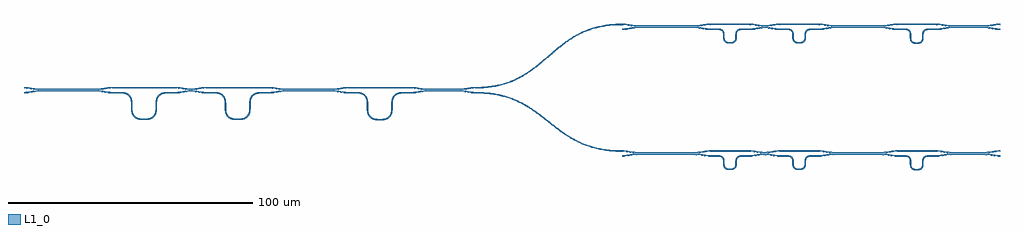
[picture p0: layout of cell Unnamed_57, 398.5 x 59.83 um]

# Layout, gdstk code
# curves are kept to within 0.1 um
from math import pi, radians
import gdstk
lib = gdstk.Library(unit=1e-6, precision=1e-09)
def R(c, l, rs):  # rectangles x0, y0, x1, y1
    for r in rs: c.add(gdstk.rectangle(r[:2], r[2:], *l))
def P(c, l, *ps):  # polygons
    for p in ps: c.add(gdstk.Polygon(p, *l))
L1_0 = (1, 0)

unnamed_0 = lib.new_cell('Unnamed_0')
P(unnamed_0, L1_0, [(-12.092,0.1),(-13.599,0.205),(-16.641,0.67),(-18,0.75),(-18,1.25),(-16.677,1.177),(-13.567,0.705),(-12.088,0.6),(12.177,0.601),(13.567,0.705),(16.677,1.177),(18,1.25),(18,0.75),(16.641,0.67),(13.813,0.233),(12.462,0.109)])

unnamed_1 = lib.new_cell('Unnamed_1')
P(unnamed_1, L1_0, [(-18,-1.25),(-18,-0.75),(-16.641,-0.67),(-13.599,-0.205),(-12.185,-0.101),(12.185,-0.101),(13.599,-0.205),(16.641,-0.67),(18,-0.75),(18,-1.25),(17.908,-1.25),(16.677,-1.177),(13.567,-0.705),(12.177,-0.601),(-12.177,-0.601),(-13.567,-0.705),(-16.677,-1.177)])

unnamed_2 = lib.new_cell('Unnamed_2')
P(unnamed_2, L1_0, [(-0.217,0.1),(-1.724,0.205),(-4.766,0.67),(-6.125,0.75),(-6.125,1.25),(-4.802,1.177),(-1.692,0.705),(-0.213,0.6),(1.336,0.664),(4.526,1.145),(6.125,1.25),(6.125,0.75),(4.647,0.656),(1.448,0.173)])

unnamed_3 = lib.new_cell('Unnamed_3')
P(unnamed_3, L1_0, [(-6.125,-1.25),(-6.125,-0.75),(-4.766,-0.67),(-1.938,-0.233),(-0.587,-0.109),(1.203,-0.149),(4.647,-0.656),(6.125,-0.75),(6.125,-1.25),(4.802,-1.177),(1.692,-0.705),(0.213,-0.6),(-1.336,-0.664),(-4.526,-1.145)])

unnamed_4 = lib.new_cell('Unnamed_4')
P(unnamed_4, L1_0, [(-10.092,0.1),(-11.599,0.205),(-14.641,0.67),(-16,0.75),(-16,1.25),(-14.677,1.177),(-11.567,0.705),(-10.088,0.6),(10.265,0.603),(11.567,0.705),(14.677,1.177),(16,1.25),(16,0.75),(14.641,0.67),(11.813,0.233),(10.555,0.113)])

unnamed_5 = lib.new_cell('Unnamed_5')
P(unnamed_5, L1_0, [(-16,-1.25),(-16,-0.75),(-14.641,-0.67),(-11.599,-0.205),(-10.185,-0.101),(10.277,-0.103),(11.599,-0.205),(14.641,-0.67),(16,-0.75),(16,-1.25),(15.908,-1.25),(14.554,-1.163),(11.567,-0.705),(10.265,-0.603),(-10.177,-0.601),(-11.567,-0.705),(-14.677,-1.177)])

unnamed_6 = lib.new_cell('Unnamed_6')
P(unnamed_6, L1_0, [(-7.092,0.1),(-8.599,0.205),(-11.641,0.67),(-13,0.75),(-13,1.25),(-11.677,1.177),(-8.567,0.705),(-7.088,0.6),(7.265,0.603),(8.567,0.705),(11.677,1.177),(13,1.25),(13,0.75),(11.522,0.656),(7.616,0.116)])

unnamed_7 = lib.new_cell('Unnamed_7')
P(unnamed_7, L1_0, [(-13,-1.25),(-13,-0.75),(-11.641,-0.67),(-8.599,-0.205),(-7.185,-0.101),(7.277,-0.103),(8.599,-0.205),(11.641,-0.67),(13,-0.75),(13,-1.25),(12.908,-1.25),(11.554,-1.163),(8.567,-0.705),(7.265,-0.603),(-7.177,-0.601),(-8.567,-0.705),(-11.677,-1.177)])

straight_l26_n2_csstrip_ = lib.new_cell('straight_L26_N2_CSstrip_WNone')
R(straight_l26_n2_csstrip_, L1_0, [(0,-0.25,26,0.25)])

straight_l3_n2_csxs_261_ = lib.new_cell('straight_L3_N2_CSxs_261_5a9c514e')
R(straight_l3_n2_csxs_261_, L1_0, [(0,-0.25,3,0.25)])

bend_euler_r5_a90_p0p5__ = lib.new_cell('bend_euler_R5_A90_P0p5__bd6e683c')
P(bend_euler_r5_a90_p0p5__, L1_0, [(0,-0.25),(0,0.25),(1.36,0.294),(2.268,0.462),(3.02,0.78),(3.699,1.301),(4.22,1.98),(4.538,2.732),(4.706,3.64),(4.75,5),(5.25,5),(5.203,3.59),(5.018,2.592),(4.653,1.73),(4.053,0.947),(3.27,0.347),(2.408,-0.018),(1.41,-0.203)])

straight_l0p864_n2_csxs_ = lib.new_cell('straight_L0p864_N2_CSxs_c90c2a6f')
R(straight_l0p864_n2_csxs_, L1_0, [(0,-0.25,0.864,0.25)])

unnamed_11 = lib.new_cell('Unnamed_11')
unnamed_11.add(gdstk.Reference(straight_l3_n2_csxs_261_, (0,0)))
unnamed_11.add(gdstk.Reference(bend_euler_r5_a90_p0p5__, (3,0)))
unnamed_11.add(gdstk.Reference(straight_l0p864_n2_csxs_, (8,5), rotation=pi/2))
unnamed_11.add(gdstk.Reference(bend_euler_r5_a90_p0p5__, (8,5.864), rotation=pi/2, x_reflection=True))
unnamed_11.add(gdstk.Reference(bend_euler_r5_a90_p0p5__, (13,10.864), x_reflection=True))
unnamed_11.add(gdstk.Reference(straight_l0p864_n2_csxs_, (18,5.864), rotation=3*pi/2))
unnamed_11.add(gdstk.Reference(bend_euler_r5_a90_p0p5__, (18,5), rotation=3*pi/2))
unnamed_11.add(gdstk.Reference(straight_l3_n2_csxs_261_, (23,0)))

unnamed_14 = lib.new_cell('Unnamed_14')
unnamed_14.add(gdstk.Reference(unnamed_11, (-13,-5.432)))

unnamed_15 = lib.new_cell('Unnamed_15')
unnamed_15.add(gdstk.Reference(straight_l3_n2_csxs_261_, (0,0)))
unnamed_15.add(gdstk.Reference(bend_euler_r5_a90_p0p5__, (3,0)))
unnamed_15.add(gdstk.Reference(straight_l0p864_n2_csxs_, (8,5), rotation=pi/2))
unnamed_15.add(gdstk.Reference(bend_euler_r5_a90_p0p5__, (8,5.864), rotation=pi/2, x_reflection=True))
unnamed_15.add(gdstk.Reference(bend_euler_r5_a90_p0p5__, (13,10.864), x_reflection=True))
unnamed_15.add(gdstk.Reference(straight_l0p864_n2_csxs_, (18,5.864), rotation=3*pi/2))
unnamed_15.add(gdstk.Reference(bend_euler_r5_a90_p0p5__, (18,5), rotation=3*pi/2))
unnamed_15.add(gdstk.Reference(straight_l3_n2_csxs_261_, (23,0)))

unnamed_16 = lib.new_cell('Unnamed_16')
unnamed_16.add(gdstk.Reference(unnamed_15, (-13,-5.432)))

straight_l1p00412871081_ = lib.new_cell('straight_L1p00412871081_d5c1cb22')
R(straight_l1p00412871081_, L1_0, [(0,-0.25,1.004,0.25)])

unnamed_17 = lib.new_cell('Unnamed_17')
unnamed_17.add(gdstk.Reference(straight_l3_n2_csxs_261_, (0,0)))
unnamed_17.add(gdstk.Reference(bend_euler_r5_a90_p0p5__, (3,0)))
unnamed_17.add(gdstk.Reference(straight_l1p00412871081_, (8,5), rotation=pi/2))
unnamed_17.add(gdstk.Reference(bend_euler_r5_a90_p0p5__, (8,6.004), rotation=pi/2, x_reflection=True))
unnamed_17.add(gdstk.Reference(bend_euler_r5_a90_p0p5__, (13,11.004), x_reflection=True))
unnamed_17.add(gdstk.Reference(straight_l1p00412871081_, (18,6.004), rotation=3*pi/2))
unnamed_17.add(gdstk.Reference(bend_euler_r5_a90_p0p5__, (18,5), rotation=3*pi/2))
unnamed_17.add(gdstk.Reference(straight_l3_n2_csxs_261_, (23,0)))

unnamed_19 = lib.new_cell('Unnamed_19')
unnamed_19.add(gdstk.Reference(unnamed_17, (-13,-5.502)))

unnamed_8 = lib.new_cell('Unnamed_8')
unnamed_8.add(gdstk.Reference(unnamed_0, (-76.625,0)))
unnamed_8.add(gdstk.Reference(unnamed_1, (-76.625,0)))
unnamed_8.add(gdstk.Reference(unnamed_2, (-26.5,0)))
unnamed_8.add(gdstk.Reference(unnamed_3, (-26.5,0)))
unnamed_8.add(gdstk.Reference(unnamed_4, (21.625,0)))
unnamed_8.add(gdstk.Reference(unnamed_5, (21.625,0)))
unnamed_8.add(gdstk.Reference(unnamed_6, (76.625,0)))
unnamed_8.add(gdstk.Reference(unnamed_7, (76.625,0)))
unnamed_8.add(gdstk.Reference(straight_l26_n2_csstrip_, (-58.625,1), rotation=radians(0.077)))
unnamed_8.add(gdstk.Reference(unnamed_14, (-45.632,-6.449), rotation=radians(359.923), x_reflection=True))
unnamed_8.add(gdstk.Reference(straight_l26_n2_csstrip_, (-20.375,1), rotation=radians(0.077)))
unnamed_8.add(gdstk.Reference(unnamed_16, (-7.382,-6.449), rotation=radians(359.923), x_reflection=True))
unnamed_8.add(gdstk.Reference(straight_l26_n2_csstrip_, (37.625,1), rotation=radians(0.077)))
unnamed_8.add(gdstk.Reference(unnamed_19, (50.618,-6.519), rotation=radians(359.923), x_reflection=True))

unnamed_20 = lib.new_cell('Unnamed_20')
P(unnamed_20, L1_0, [(-12.092,0.1),(-13.599,0.205),(-16.641,0.67),(-18,0.75),(-18,1.25),(-16.677,1.177),(-13.567,0.705),(-12.088,0.6),(12.177,0.601),(13.567,0.705),(16.677,1.177),(18,1.25),(18,0.75),(16.641,0.67),(13.813,0.233),(12.462,0.109)])

unnamed_21 = lib.new_cell('Unnamed_21')
P(unnamed_21, L1_0, [(-18,-1.25),(-18,-0.75),(-16.641,-0.67),(-13.599,-0.205),(-12.185,-0.101),(12.185,-0.101),(13.599,-0.205),(16.641,-0.67),(18,-0.75),(18,-1.25),(17.908,-1.25),(16.677,-1.177),(13.567,-0.705),(12.177,-0.601),(-12.177,-0.601),(-13.567,-0.705),(-16.677,-1.177)])

unnamed_22 = lib.new_cell('Unnamed_22')
P(unnamed_22, L1_0, [(-0.217,0.1),(-1.724,0.205),(-4.766,0.67),(-6.125,0.75),(-6.125,1.25),(-4.802,1.177),(-1.692,0.705),(-0.213,0.6),(1.336,0.664),(4.526,1.145),(6.125,1.25),(6.125,0.75),(4.647,0.656),(1.448,0.173)])

unnamed_23 = lib.new_cell('Unnamed_23')
P(unnamed_23, L1_0, [(-6.125,-1.25),(-6.125,-0.75),(-4.766,-0.67),(-1.938,-0.233),(-0.587,-0.109),(1.203,-0.149),(4.647,-0.656),(6.125,-0.75),(6.125,-1.25),(4.802,-1.177),(1.692,-0.705),(0.213,-0.6),(-1.336,-0.664),(-4.526,-1.145)])

unnamed_24 = lib.new_cell('Unnamed_24')
P(unnamed_24, L1_0, [(-10.092,0.1),(-11.599,0.205),(-14.641,0.67),(-16,0.75),(-16,1.25),(-14.677,1.177),(-11.567,0.705),(-10.088,0.6),(10.265,0.603),(11.567,0.705),(14.677,1.177),(16,1.25),(16,0.75),(14.641,0.67),(11.813,0.233),(10.555,0.113)])

unnamed_25 = lib.new_cell('Unnamed_25')
P(unnamed_25, L1_0, [(-16,-1.25),(-16,-0.75),(-14.641,-0.67),(-11.599,-0.205),(-10.185,-0.101),(10.277,-0.103),(11.599,-0.205),(14.641,-0.67),(16,-0.75),(16,-1.25),(15.908,-1.25),(14.554,-1.163),(11.567,-0.705),(10.265,-0.603),(-10.177,-0.601),(-11.567,-0.705),(-14.677,-1.177)])

unnamed_26 = lib.new_cell('Unnamed_26')
P(unnamed_26, L1_0, [(-7.092,0.1),(-8.599,0.205),(-11.641,0.67),(-13,0.75),(-13,1.25),(-11.677,1.177),(-8.567,0.705),(-7.088,0.6),(7.265,0.603),(8.567,0.705),(11.677,1.177),(13,1.25),(13,0.75),(11.522,0.656),(7.616,0.116)])

unnamed_27 = lib.new_cell('Unnamed_27')
P(unnamed_27, L1_0, [(-13,-1.25),(-13,-0.75),(-11.641,-0.67),(-8.599,-0.205),(-7.185,-0.101),(7.277,-0.103),(8.599,-0.205),(11.641,-0.67),(13,-0.75),(13,-1.25),(12.908,-1.25),(11.554,-1.163),(8.567,-0.705),(7.265,-0.603),(-7.177,-0.601),(-8.567,-0.705),(-11.677,-1.177)])

straight_l16_n2_csstrip_ = lib.new_cell('straight_L16_N2_CSstrip_WNone')
R(straight_l16_n2_csstrip_, L1_0, [(0,-0.25,16,0.25)])

straight_l3_n2_csxs_c74_ = lib.new_cell('straight_L3_N2_CSxs_c74_34fe397f')
R(straight_l3_n2_csxs_c74_, L1_0, [(0,-0.25,3,0.25)])

bend_euler_r2p5_a90_p0p_ = lib.new_cell('bend_euler_R2p5_A90_P0p_f2762b6a')
P(bend_euler_r2p5_a90_p0p_, L1_0, [(0,-0.25),(0,0.25),(1.013,0.328),(1.404,0.474),(1.761,0.739),(2.026,1.096),(2.172,1.487),(2.25,2.5),(2.75,2.5),(2.717,1.7),(2.612,1.203),(2.366,0.691),(2.115,0.385),(1.809,0.134),(1.297,-0.112),(0.8,-0.217)])

straight_l0p50406435540_ = lib.new_cell('straight_L0p50406435540_c2892dd0')
R(straight_l0p50406435540_, L1_0, [(0,-0.25,0.504,0.25)])

unnamed_31 = lib.new_cell('Unnamed_31')
unnamed_31.add(gdstk.Reference(straight_l3_n2_csxs_c74_, (0,0)))
unnamed_31.add(gdstk.Reference(bend_euler_r2p5_a90_p0p_, (3,0)))
unnamed_31.add(gdstk.Reference(straight_l0p50406435540_, (5.5,2.5), rotation=pi/2))
unnamed_31.add(gdstk.Reference(bend_euler_r2p5_a90_p0p_, (5.5,3.004), rotation=pi/2, x_reflection=True))
unnamed_31.add(gdstk.Reference(bend_euler_r2p5_a90_p0p_, (8,5.504), x_reflection=True))
unnamed_31.add(gdstk.Reference(straight_l0p50406435540_, (10.5,3.004), rotation=3*pi/2))
unnamed_31.add(gdstk.Reference(bend_euler_r2p5_a90_p0p_, (10.5,2.5), rotation=3*pi/2))
unnamed_31.add(gdstk.Reference(straight_l3_n2_csxs_c74_, (13,0)))

unnamed_34 = lib.new_cell('Unnamed_34')
unnamed_34.add(gdstk.Reference(unnamed_31, (-8,-2.752)))

unnamed_35 = lib.new_cell('Unnamed_35')
unnamed_35.add(gdstk.Reference(straight_l3_n2_csxs_c74_, (0,0)))
unnamed_35.add(gdstk.Reference(bend_euler_r2p5_a90_p0p_, (3,0)))
unnamed_35.add(gdstk.Reference(straight_l0p50406435540_, (5.5,2.5), rotation=pi/2))
unnamed_35.add(gdstk.Reference(bend_euler_r2p5_a90_p0p_, (5.5,3.004), rotation=pi/2, x_reflection=True))
unnamed_35.add(gdstk.Reference(bend_euler_r2p5_a90_p0p_, (8,5.504), x_reflection=True))
unnamed_35.add(gdstk.Reference(straight_l0p50406435540_, (10.5,3.004), rotation=3*pi/2))
unnamed_35.add(gdstk.Reference(bend_euler_r2p5_a90_p0p_, (10.5,2.5), rotation=3*pi/2))
unnamed_35.add(gdstk.Reference(straight_l3_n2_csxs_c74_, (13,0)))

unnamed_36 = lib.new_cell('Unnamed_36')
unnamed_36.add(gdstk.Reference(unnamed_35, (-8,-2.752)))

straight_l0p64419306622_ = lib.new_cell('straight_L0p64419306622_b9b1f2de')
R(straight_l0p64419306622_, L1_0, [(0,-0.25,0.644,0.25)])

unnamed_37 = lib.new_cell('Unnamed_37')
unnamed_37.add(gdstk.Reference(straight_l3_n2_csxs_c74_, (0,0)))
unnamed_37.add(gdstk.Reference(bend_euler_r2p5_a90_p0p_, (3,0)))
unnamed_37.add(gdstk.Reference(straight_l0p64419306622_, (5.5,2.5), rotation=pi/2))
unnamed_37.add(gdstk.Reference(bend_euler_r2p5_a90_p0p_, (5.5,3.144), rotation=pi/2, x_reflection=True))
unnamed_37.add(gdstk.Reference(bend_euler_r2p5_a90_p0p_, (8,5.644), x_reflection=True))
unnamed_37.add(gdstk.Reference(straight_l0p64419306622_, (10.5,3.144), rotation=3*pi/2))
unnamed_37.add(gdstk.Reference(bend_euler_r2p5_a90_p0p_, (10.5,2.5), rotation=3*pi/2))
unnamed_37.add(gdstk.Reference(straight_l3_n2_csxs_c74_, (13,0)))

unnamed_39 = lib.new_cell('Unnamed_39')
unnamed_39.add(gdstk.Reference(unnamed_37, (-8,-2.822)))

unnamed_28 = lib.new_cell('Unnamed_28')
unnamed_28.add(gdstk.Reference(unnamed_20, (-61.625,0)))
unnamed_28.add(gdstk.Reference(unnamed_21, (-61.625,0)))
unnamed_28.add(gdstk.Reference(unnamed_22, (-21.5,0)))
unnamed_28.add(gdstk.Reference(unnamed_23, (-21.5,0)))
unnamed_28.add(gdstk.Reference(unnamed_24, (16.625,0)))
unnamed_28.add(gdstk.Reference(unnamed_25, (16.625,0)))
unnamed_28.add(gdstk.Reference(unnamed_26, (61.625,0)))
unnamed_28.add(gdstk.Reference(unnamed_27, (61.625,0)))
unnamed_28.add(gdstk.Reference(straight_l16_n2_csstrip_, (-43.625,1), rotation=radians(0.077)))
unnamed_28.add(gdstk.Reference(unnamed_34, (-35.629,-3.763), rotation=radians(359.923), x_reflection=True))
unnamed_28.add(gdstk.Reference(straight_l16_n2_csstrip_, (-15.375,1), rotation=radians(0.077)))
unnamed_28.add(gdstk.Reference(unnamed_36, (-7.379,-3.763), rotation=radians(359.923), x_reflection=True))
unnamed_28.add(gdstk.Reference(straight_l16_n2_csstrip_, (32.625,1), rotation=radians(0.077)))
unnamed_28.add(gdstk.Reference(unnamed_39, (40.621,-3.833), rotation=radians(359.923), x_reflection=True))

unnamed_40 = lib.new_cell('Unnamed_40')
P(unnamed_40, L1_0, [(-12.092,0.1),(-13.599,0.205),(-16.641,0.67),(-18,0.75),(-18,1.25),(-16.677,1.177),(-13.567,0.705),(-12.088,0.6),(12.177,0.601),(13.567,0.705),(16.677,1.177),(18,1.25),(18,0.75),(16.641,0.67),(13.813,0.233),(12.462,0.109)])

unnamed_41 = lib.new_cell('Unnamed_41')
P(unnamed_41, L1_0, [(-18,-1.25),(-18,-0.75),(-16.641,-0.67),(-13.599,-0.205),(-12.185,-0.101),(12.185,-0.101),(13.599,-0.205),(16.641,-0.67),(18,-0.75),(18,-1.25),(17.908,-1.25),(16.677,-1.177),(13.567,-0.705),(12.177,-0.601),(-12.177,-0.601),(-13.567,-0.705),(-16.677,-1.177)])

unnamed_42 = lib.new_cell('Unnamed_42')
P(unnamed_42, L1_0, [(-0.217,0.1),(-1.724,0.205),(-4.766,0.67),(-6.125,0.75),(-6.125,1.25),(-4.802,1.177),(-1.692,0.705),(-0.213,0.6),(1.336,0.664),(4.526,1.145),(6.125,1.25),(6.125,0.75),(4.647,0.656),(1.448,0.173)])

unnamed_43 = lib.new_cell('Unnamed_43')
P(unnamed_43, L1_0, [(-6.125,-1.25),(-6.125,-0.75),(-4.766,-0.67),(-1.938,-0.233),(-0.587,-0.109),(1.203,-0.149),(4.647,-0.656),(6.125,-0.75),(6.125,-1.25),(4.802,-1.177),(1.692,-0.705),(0.213,-0.6),(-1.336,-0.664),(-4.526,-1.145)])

unnamed_44 = lib.new_cell('Unnamed_44')
P(unnamed_44, L1_0, [(-10.092,0.1),(-11.599,0.205),(-14.641,0.67),(-16,0.75),(-16,1.25),(-14.677,1.177),(-11.567,0.705),(-10.088,0.6),(10.265,0.603),(11.567,0.705),(14.677,1.177),(16,1.25),(16,0.75),(14.641,0.67),(11.813,0.233),(10.555,0.113)])

unnamed_45 = lib.new_cell('Unnamed_45')
P(unnamed_45, L1_0, [(-16,-1.25),(-16,-0.75),(-14.641,-0.67),(-11.599,-0.205),(-10.185,-0.101),(10.277,-0.103),(11.599,-0.205),(14.641,-0.67),(16,-0.75),(16,-1.25),(15.908,-1.25),(14.554,-1.163),(11.567,-0.705),(10.265,-0.603),(-10.177,-0.601),(-11.567,-0.705),(-14.677,-1.177)])

unnamed_46 = lib.new_cell('Unnamed_46')
P(unnamed_46, L1_0, [(-7.092,0.1),(-8.599,0.205),(-11.641,0.67),(-13,0.75),(-13,1.25),(-11.677,1.177),(-8.567,0.705),(-7.088,0.6),(7.265,0.603),(8.567,0.705),(11.677,1.177),(13,1.25),(13,0.75),(11.522,0.656),(7.616,0.116)])

unnamed_47 = lib.new_cell('Unnamed_47')
P(unnamed_47, L1_0, [(-13,-1.25),(-13,-0.75),(-11.641,-0.67),(-8.599,-0.205),(-7.185,-0.101),(7.277,-0.103),(8.599,-0.205),(11.641,-0.67),(13,-0.75),(13,-1.25),(12.908,-1.25),(11.554,-1.163),(8.567,-0.705),(7.265,-0.603),(-7.177,-0.601),(-8.567,-0.705),(-11.677,-1.177)])

straight_l0p43399999999_ = lib.new_cell('straight_L0p43399999999_188dc852')
R(straight_l0p43399999999_, L1_0, [(0,-0.25,0.434,0.25)])

unnamed_49 = lib.new_cell('Unnamed_49')
unnamed_49.add(gdstk.Reference(straight_l3_n2_csxs_c74_, (0,0)))
unnamed_49.add(gdstk.Reference(bend_euler_r2p5_a90_p0p_, (3,0)))
unnamed_49.add(gdstk.Reference(straight_l0p43399999999_, (5.5,2.5), rotation=pi/2))
unnamed_49.add(gdstk.Reference(bend_euler_r2p5_a90_p0p_, (5.5,2.934), rotation=pi/2, x_reflection=True))
unnamed_49.add(gdstk.Reference(bend_euler_r2p5_a90_p0p_, (8,5.434), x_reflection=True))
unnamed_49.add(gdstk.Reference(straight_l0p43399999999_, (10.5,2.934), rotation=3*pi/2))
unnamed_49.add(gdstk.Reference(bend_euler_r2p5_a90_p0p_, (10.5,2.5), rotation=3*pi/2))
unnamed_49.add(gdstk.Reference(straight_l3_n2_csxs_c74_, (13,0)))

unnamed_51 = lib.new_cell('Unnamed_51')
unnamed_51.add(gdstk.Reference(unnamed_49, (-8,-2.717)))

unnamed_52 = lib.new_cell('Unnamed_52')
unnamed_52.add(gdstk.Reference(straight_l3_n2_csxs_c74_, (0,0)))
unnamed_52.add(gdstk.Reference(bend_euler_r2p5_a90_p0p_, (3,0)))
unnamed_52.add(gdstk.Reference(straight_l0p43399999999_, (5.5,2.5), rotation=pi/2))
unnamed_52.add(gdstk.Reference(bend_euler_r2p5_a90_p0p_, (5.5,2.934), rotation=pi/2, x_reflection=True))
unnamed_52.add(gdstk.Reference(bend_euler_r2p5_a90_p0p_, (8,5.434), x_reflection=True))
unnamed_52.add(gdstk.Reference(straight_l0p43399999999_, (10.5,2.934), rotation=3*pi/2))
unnamed_52.add(gdstk.Reference(bend_euler_r2p5_a90_p0p_, (10.5,2.5), rotation=3*pi/2))
unnamed_52.add(gdstk.Reference(straight_l3_n2_csxs_c74_, (13,0)))

unnamed_53 = lib.new_cell('Unnamed_53')
unnamed_53.add(gdstk.Reference(unnamed_52, (-8,-2.717)))

straight_l0p57412871081_ = lib.new_cell('straight_L0p57412871081_82aa8339')
R(straight_l0p57412871081_, L1_0, [(0,-0.25,0.574,0.25)])

unnamed_54 = lib.new_cell('Unnamed_54')
unnamed_54.add(gdstk.Reference(straight_l3_n2_csxs_c74_, (0,0)))
unnamed_54.add(gdstk.Reference(bend_euler_r2p5_a90_p0p_, (3,0)))
unnamed_54.add(gdstk.Reference(straight_l0p57412871081_, (5.5,2.5), rotation=pi/2))
unnamed_54.add(gdstk.Reference(bend_euler_r2p5_a90_p0p_, (5.5,3.074), rotation=pi/2, x_reflection=True))
unnamed_54.add(gdstk.Reference(bend_euler_r2p5_a90_p0p_, (8,5.574), x_reflection=True))
unnamed_54.add(gdstk.Reference(straight_l0p57412871081_, (10.5,3.074), rotation=3*pi/2))
unnamed_54.add(gdstk.Reference(bend_euler_r2p5_a90_p0p_, (10.5,2.5), rotation=3*pi/2))
unnamed_54.add(gdstk.Reference(straight_l3_n2_csxs_c74_, (13,0)))

unnamed_56 = lib.new_cell('Unnamed_56')
unnamed_56.add(gdstk.Reference(unnamed_54, (-8,-2.787)))

unnamed_48 = lib.new_cell('Unnamed_48')
unnamed_48.add(gdstk.Reference(unnamed_40, (-61.625,0)))
unnamed_48.add(gdstk.Reference(unnamed_41, (-61.625,0)))
unnamed_48.add(gdstk.Reference(unnamed_42, (-21.5,0)))
unnamed_48.add(gdstk.Reference(unnamed_43, (-21.5,0)))
unnamed_48.add(gdstk.Reference(unnamed_44, (16.625,0)))
unnamed_48.add(gdstk.Reference(unnamed_45, (16.625,0)))
unnamed_48.add(gdstk.Reference(unnamed_46, (61.625,0)))
unnamed_48.add(gdstk.Reference(unnamed_47, (61.625,0)))
unnamed_48.add(gdstk.Reference(straight_l16_n2_csstrip_, (-43.625,1), rotation=radians(0.077)))
unnamed_48.add(gdstk.Reference(unnamed_51, (-35.629,-3.728), rotation=radians(359.923), x_reflection=True))
unnamed_48.add(gdstk.Reference(straight_l16_n2_csstrip_, (-15.375,1), rotation=radians(0.077)))
unnamed_48.add(gdstk.Reference(unnamed_53, (-7.379,-3.728), rotation=radians(359.923), x_reflection=True))
unnamed_48.add(gdstk.Reference(straight_l16_n2_csstrip_, (32.625,1), rotation=radians(0.077)))
unnamed_48.add(gdstk.Reference(unnamed_56, (40.621,-3.798), rotation=radians(359.923), x_reflection=True))

bend_s_s60_25p88_n99_cs_ = lib.new_cell('bend_s_S60_25p88_N99_CS_ce288585')
P(bend_s_s60_25p88_n99_cs_, L1_0, [(0,-0.25),(0,0.25),(2.659,0.321),(5.159,0.528),(7.51,0.861),(10.433,1.487),(12.479,2.082),(14.412,2.774),(16.243,3.554),(17.981,4.414),(21.226,6.339),(24.228,8.48),(27.071,10.767),(33.548,16.274),(36.958,18.9),(39.027,20.3),(40.657,21.286),(42.363,22.207),(44.156,23.053),(46.047,23.816),(48.046,24.486),(51.642,25.372),(55.611,25.934),(60,26.13),(60,25.63),(57.341,25.559),(54.841,25.352),(52.49,25.019),(49.567,24.393),(47.521,23.798),(45.588,23.106),(43.757,22.326),(42.019,21.466),(38.774,19.541),(35.772,17.4),(32.929,15.113),(26.452,9.606),(23.042,6.98),(20.973,5.58),(19.343,4.594),(17.637,3.673),(15.844,2.827),(13.953,2.064),(11.954,1.394),(8.358,0.508),(4.389,-0.054)])

bend_s_s60_m23p845_n99__ = lib.new_cell('bend_s_S60_m23p845_N99__2baf74ae')
P(bend_s_s60_m23p845_n99__, L1_0, [(60,-24.095),(55.613,-23.914),(51.646,-23.397),(48.051,-22.581),(46.053,-21.964),(44.163,-21.261),(42.37,-20.482),(40.664,-19.633),(39.035,-18.725),(36.965,-17.435),(33.556,-15.016),(27.078,-9.942),(24.236,-7.835),(21.233,-5.862),(17.989,-4.088),(16.25,-3.296),(14.418,-2.576),(12.484,-1.939),(10.437,-1.391),(7.513,-0.813),(5.161,-0.506),(2.66,-0.315),(0,-0.25),(0,0.25),(4.387,0.069),(8.354,-0.448),(11.949,-1.264),(13.947,-1.881),(15.837,-2.584),(17.63,-3.363),(19.336,-4.212),(20.965,-5.12),(23.035,-6.41),(26.444,-8.829),(32.922,-13.903),(35.764,-16.01),(38.767,-17.983),(42.011,-19.757),(43.75,-20.549),(45.582,-21.269),(47.516,-21.906),(49.563,-22.454),(52.487,-23.032),(54.839,-23.339),(57.34,-23.53),(60,-23.595)])

unnamed_57 = lib.new_cell('Unnamed_57')
unnamed_57.add(gdstk.Reference(unnamed_8, (0,0)))
unnamed_57.add(gdstk.Reference(unnamed_28, (229.25,25.88)))
unnamed_57.add(gdstk.Reference(unnamed_48, (229.25,-25.845)))
unnamed_57.add(gdstk.Reference(bend_s_s60_25p88_n99_cs_, (89.625,1)))
unnamed_57.add(gdstk.Reference(bend_s_s60_m23p845_n99__, (89.625,-1)))

lib.write_gds('Unnamed_57.gds')
